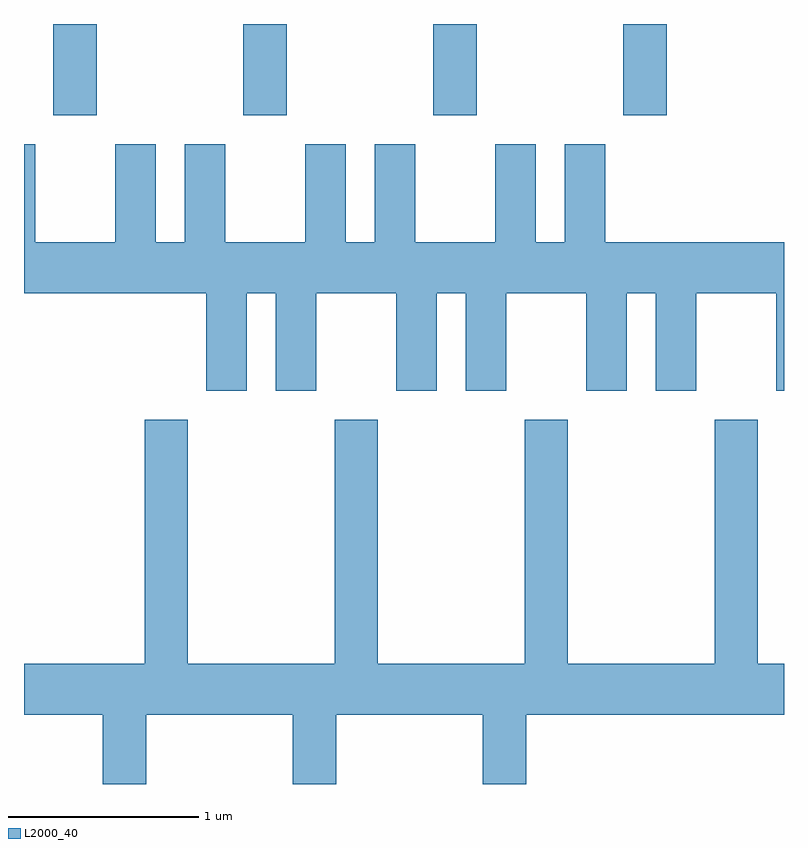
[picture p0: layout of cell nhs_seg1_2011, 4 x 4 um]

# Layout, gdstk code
import gdstk
lib = gdstk.Library(unit=1e-6, precision=1e-09)
def R(c, l, rs):  # rectangles x0, y0, x1, y1
    for r in rs: c.add(gdstk.rectangle(r[:2], r[2:], *l))
def A(c, l, x, y, w, h, nx, ny, dx, dy):  # array of equal rectangles
    R(c, l, [(x+i*dx, y+j*dy, x+i*dx+w, y+j*dy+h) for i in range(nx) for j in range(ny)])
def P(c, l, *ps):  # polygons
    for p in ps: c.add(gdstk.Polygon(p, *l))
L2000_40 = (2000, 40)

nhs_seg1_2011 = lib.new_cell('nhs_seg1_2011')
A(nhs_seg1_2011, L2000_40, 247.766, 847.231, 0.228, 0.481, 4, 1, 1, 0)
P(nhs_seg1_2011, L2000_40, [(248.784,846.296),(248.936,846.296),(248.936,845.781),(249.149,845.781),(249.149,846.296),(249.571,846.296),(249.571,845.781),(249.784,845.781),(249.784,846.296),(249.936,846.296),(249.936,845.781),(250.149,845.781),(250.149,846.296),(250.571,846.296),(250.571,845.781),(250.784,845.781),(250.784,846.296),(250.936,846.296),(250.936,845.781),(251.149,845.781),(251.149,846.296),(251.571,846.296),(251.571,845.781),(251.611,845.781),(251.611,846.564),(250.669,846.564),(250.669,847.079),(250.456,847.079),(250.456,846.564),(250.304,846.564),(250.304,847.079),(250.091,847.079),(250.091,846.564),(249.669,846.564),(249.669,847.079),(249.456,847.079),(249.456,846.564),(249.304,846.564),(249.304,847.079),(249.091,847.079),(249.091,846.564),(248.669,846.564),(248.669,847.079),(248.456,847.079),(248.456,846.564),(248.304,846.564),(248.304,847.079),(248.091,847.079),(248.091,846.564),(247.669,846.564),(247.669,847.079),(247.611,847.079),(247.611,846.296),(248.571,846.296),(248.571,845.781),(248.784,845.781)],
  [(248.254,844.076),(249.026,844.076),(249.026,843.712),(249.254,843.712),(249.254,844.076),(250.026,844.076),(250.026,843.712),(250.254,843.712),(250.254,844.076),(251.611,844.076),(251.611,844.344),(251.474,844.344),(251.474,845.629),(251.246,845.629),(251.246,844.344),(250.474,844.344),(250.474,845.629),(250.246,845.629),(250.246,844.344),(249.474,844.344),(249.474,845.629),(249.246,845.629),(249.246,844.344),(248.474,844.344),(248.474,845.629),(248.246,845.629),(248.246,844.344),(247.611,844.344),(247.611,844.076),(248.026,844.076),(248.026,843.712),(248.254,843.712)])

lib.write_gds('nhs_seg1_2011.gds')
